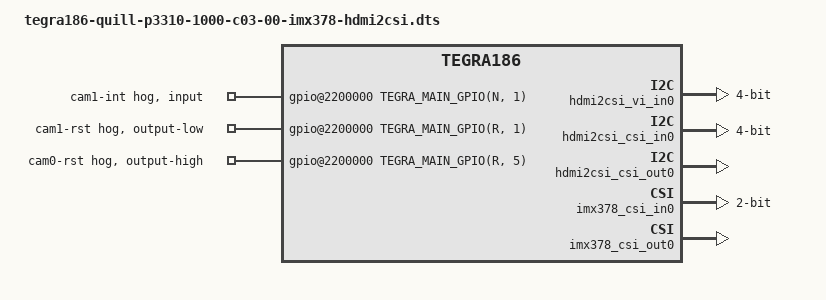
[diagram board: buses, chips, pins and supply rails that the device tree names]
/*
 * tegra186-quill-p3310-1000-c03-00-imx378.dts: DTS file for Quill
 * to enable imx378 image sensor.
 *
 * Copyright (c) 2017, CenturyArks All rights reserved.
 * Copyright (c) 2016, NVIDIA CORPORATION.  All rights reserved.
 *
 * This program is free software; you can redistribute it and/or modify
 * it under the terms of the GNU General Public License as published by
 * the Free Software Foundation; version 2 of the License.
 *
 * This program is distributed in the hope that it will be useful, but WITHOUT
 * ANY WARRANTY; without even the implied warranty of MERCHANTABILITY or
 * FITNESS FOR A PARTICULAR PURPOSE.  See the GNU General Public License for
 * more details.
 *
 */

#include "tegra186-quill-p3310-1000-c03-00-base.dts"
#include "quill-platforms/tegra186-quill-j100-camera-imx378.dtsi"
#include "quill-platforms/tegra186-quill-j100-camera-hdmi2csi.dtsi"

/ {
	nvidia,dtsfilename = __FILE__;
	
	pinmux@2430000 {
		common {
			/*
			 * Remap the INT pin of TC358840 (CAM2_MCLK) to GPIO(N,1) via CSI-EF port on Auvidea J100
			 * CA378-AOIS has no connection to CAM2_MCLK if connected through HDMI2CSI-J100 via CSI-CD port on Auvidea J100
			 */
			gpio_cam2_pn1 {
				nvidia,pins = "gpio_cam2_pn1";
				nvidia,function = "rsvd2";
				nvidia,pull = <TEGRA_PIN_PULL_NONE>;
				nvidia,tristate = <TEGRA_PIN_ENABLE>;
				nvidia,enable-input = <TEGRA_PIN_ENABLE>;
				nvidia,lpdr = <TEGRA_PIN_DISABLE>;
			};
		};
	};

	/* GPIO */
	gpio@2200000 {
		/* HDMI2CSI-J100 */
		camera-control-input {
			status = "okay";
			gpio-hog;
			input;
			gpios = <TEGRA_MAIN_GPIO(N, 1) 0>;
			label = "cam1-int";
		};
		/* HDMI2CSI-J100 */
		camera-control-output-low {
			status = "okay";
			gpio-hog;
			output-low;
			gpios = <TEGRA_MAIN_GPIO(R, 1) 0>;
			label = "cam1-rst";
		};
		/* CA378-AOIS */
		camera-control-output-high {
			gpio-hog;
			gpios = <TEGRA_MAIN_GPIO(R, 5) 0>;
			label = "cam0-rst";
			output-high;
			status = "okay";
		};
	};
	
	host1x {
		vi@15700000 {
			num-channels = <2>;
			ports {
				#address-cells = <1>;
				#size-cells = <0>;
				port@0 {
					status = "okay";
					reg = <0>;
					hdmi2csi_vi_in0: endpoint {
						status = "okay";
						csi-port = <4>;
						bus-width = <4>;
						remote-endpoint = <&hdmi2csi_csi_out0>;
					};
				};
				port@1 {
					status = "okay";
					reg = <1>;
					imx378_vi_in0: endpoint {
						status = "okay";
						csi-port = <2>;
						bus-width = <2>;
						remote-endpoint = <&imx378_csi_out0>;
					};
				};
			};
		};

		nvcsi@150c0000 {
			num-channels = <2>;
			#address-cells = <1>;
			#size-cells = <0>;
			channel@0 {
				status = "okay";
				reg = <0>;
				ports {
					#address-cells = <1>;
					#size-cells = <0>;
					port@0 {
						status = "okay";
						reg = <0>;
						hdmi2csi_csi_in0: endpoint@0 {
							status = "okay";
							csi-port = <4>;
							bus-width = <4>;
							remote-endpoint = <&hdmi2csi_tc358840_out0>;
						};
					};
					port@1 {
						status = "okay";
						reg = <1>;
						hdmi2csi_csi_out0: endpoint@1 {
							status = "okay";
							remote-endpoint = <&hdmi2csi_vi_in0>;
						};
					};
				};
			};
			channel@1 {
				status = "okay";
				reg = <1>;
				ports {
					#address-cells = <1>;
					#size-cells = <0>;
					port@0 {
						status = "okay";
						reg = <0>;
						imx378_csi_in0: endpoint@2 {
							status = "okay";
							csi-port = <2>;
							bus-width = <2>;
							remote-endpoint = <&imx378_out0>;
						};
					};
					port@1 {
						status = "okay";
						reg = <1>;
						imx378_csi_out0: endpoint@3 {
							status = "okay";
							remote-endpoint = <&imx378_vi_in0>;
						};
					};
				};
			};
		};
	};
	
	tegra-camera-platform {
		/**
		* Physical settings to calculate max ISO BW
		*
		* num_csi_lanes = <>;
		* Total number of CSI lanes when all cameras are active
		*
		* max_lane_speed = <>;
		* Max lane speed in Kbit/s
		*
		* min_bits_per_pixel = <>;
		* Min bits per pixel
		*
		* vi_peak_byte_per_pixel = <>;
		* Max byte per pixel for the VI ISO case
		*
		* vi_bw_margin_pct = <>;
		* Vi bandwidth margin in percentage
		*
		* max_pixel_rate = <>;
		* Max pixel rate in Kpixel/s for the ISP ISO case
		*
		* isp_peak_byte_per_pixel = <>;
		* Max byte per pixel for the ISP ISO case
		*
		* isp_bw_margin_pct = <>;
		* Isp bandwidth margin in percentage
		*/
		num_csi_lanes = <6>;
		max_lane_speed = <1500000>;
		min_bits_per_pixel = <16>;
		vi_peak_byte_per_pixel = <3>;
		vi_bw_margin_pct = <25>;
		// max_pixel_rate = <0>;
		isp_peak_byte_per_pixel = <3>;
		isp_bw_margin_pct = <25>;
		
		/**
		 * The general guideline for naming badge_info contains 3 parts, and is as follows,
		 * The first part is the camera_board_id for the module; if the module is in a FFD
		 * platform, then use the platform name for this part.
		 * The second part contains the position of the module, ex. "rear" or "front".
		 * The third part contains the last 6 characters of a part number which is found
		 * in the module's specsheet from the vender.
		 */
		modules {
			module0 {
				status = "okay";
				badge = "hdmi2csi_left_358840";
				position = "0";
				orientation = "1";
				drivernode0 {
					status = "okay";
					/* Declare PCL support driver (classically known as guid)  */
					pcl_id = "v4l2_sensor";
					/* Driver v4l2 device name */
					devname = "tc358840 7-000f";
					/* Declare the device-tree hierarchy to driver instance */
					proc-device-tree = "/proc/device-tree/i2c@c250000/tc358840@0f";
				};
			};
			module1 {
				status = "okay";
				badge = "imx378_CH1_396CP";
				position = "1";
				orientation = "1";
				drivernode0 {
					status = "okay";
					/* Declare PCL support driver (classically known as guid)  */
					pcl_id = "v4l2_sensor";
					/* Driver v4l2 device name */
					devname = "imx378 1-001a";
					/* Declare the device-tree hierarchy to driver instance */
					proc-device-tree = "/proc/device-tree/i2c@c240000/imx378_a@1a";
				};
				drivernode1 {
					/* Declare PCL support driver (classically known as guid)  */
					pcl_id = "v4l2_lens";
					proc-device-tree = "/proc/device-tree/lens_imx378_a@3e/";
				};
			};
		};
	};
};
